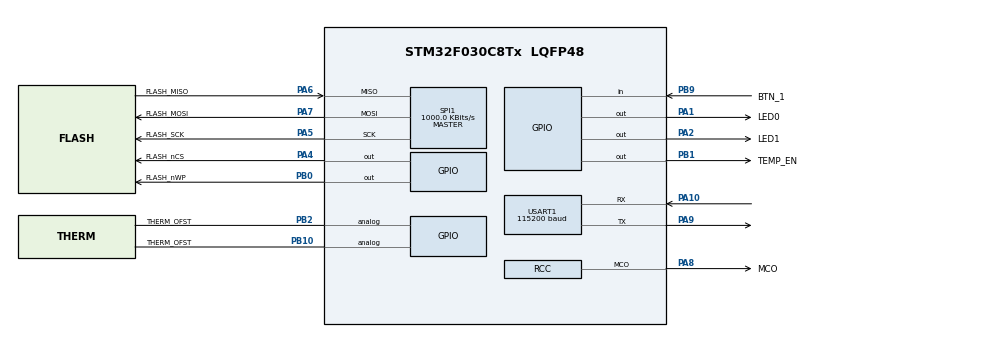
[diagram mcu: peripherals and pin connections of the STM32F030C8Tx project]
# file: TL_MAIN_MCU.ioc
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ADC.ClockPrescaler=ADC_CLOCK_SYNC_PCLK_DIV4
ADC.SamplingTime=ADC_SAMPLETIME_28CYCLES_5
Mcu.Family=STM32F0
Mcu.Name=STM32F030C8Tx
Mcu.Package=LQFP48
PA1.GPIO_Label=LED0
PA1.Signal=GPIO_Output
PA10.Mode=Asynchronous
PA10.Signal=USART1_RX
PA13.Mode=Serial_Wire
PA13.Signal=SYS_SWDIO
PA14.Mode=Serial_Wire
PA14.Signal=SYS_SWCLK
PA2.GPIO_Label=LED1
PA2.Signal=GPIO_Output
PA4.GPIO_Label=FLASH_nCS
PA4.Signal=GPIO_Output
PA5.GPIO_Label=FLASH_SCK
PA5.Mode=Full_Duplex_Master
PA5.Signal=SPI1_SCK
PA6.GPIO_Label=FLASH_MISO
PA6.Mode=Full_Duplex_Master
PA6.Signal=SPI1_MISO
PA7.GPIO_Label=FLASH_MOSI
PA7.Mode=Full_Duplex_Master
PA7.Signal=SPI1_MOSI
PA8.GPIO_Label=MCO
PA8.Mode=Clock-out
PA8.Signal=RCC_MCO
PA9.Mode=Asynchronous
PA9.Signal=USART1_TX
PB0.GPIO_Label=FLASH_nWP
PB0.Signal=GPIO_Output
PB1.GPIO_Label=TEMP_EN
PB1.Signal=GPIO_Output
PB10.GPIO_Label=THERM_OFST
PB10.Signal=GPIO_Analog
PB2.GPIO_Label=THERM_OFST
PB2.Signal=GPIO_Analog
PB9.GPIO_Label=BTN_1
PB9.Signal=GPIO_Input
PC14-OSC32_IN.Mode=LSE-External-Oscillator
PC14-OSC32_IN.Signal=RCC_OSC32_IN
PC15-OSC32_OUT.Mode=LSE-External-Oscillator
PC15-OSC32_OUT.Signal=RCC_OSC32_OUT
PF0-OSC_IN.Mode=HSE-External-Oscillator
PF0-OSC_IN.Signal=RCC_OSC_IN
PF1-OSC_OUT.Mode=HSE-External-Oscillator
PF1-OSC_OUT.Signal=RCC_OSC_OUT
ProjectManager.HeapSize=0x200
ProjectManager.StackSize=0x400
ProjectManager.TargetToolchain=Makefile
RCC.AHBFreq_Value=8000000
RCC.APB1Freq_Value=8000000
RCC.APB1TimFreq_Value=8000000
RCC.HCLKFreq_Value=8000000
RCC.PLLSourceVirtual=RCC_PLLSOURCE_HSE
SPI1.BaudRatePrescaler=SPI_BAUDRATEPRESCALER_8
SPI1.CalculateBaudRate=1000.0 KBits/s
SPI1.DataSize=SPI_DATASIZE_8BIT
SPI1.Direction=SPI_DIRECTION_2LINES
SPI1.Mode=SPI_MODE_MASTER
SPI1.VirtualType=VM_MASTER
USART1.BaudRate=115200
USART1.VirtualMode-Asynchronous=VM_ASYNC
VP_ADC_TempSens_Input.Mode=IN-TempSens
board=custom

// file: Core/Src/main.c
/* USER CODE BEGIN Header */
/**
  ******************************************************************************
  * @file           : main.c
  * @brief          : Main program body
  ******************************************************************************
  * @attention
  *
  * Copyright (c) 2024 STMicroelectronics.
  * All rights reserved.
  *
  * This software is licensed under terms that can be found in the LICENSE file
  * in the root directory of this software component.
  * If no LICENSE file comes with this software, it is provided AS-IS.
  *
  ******************************************************************************
  */
/* USER CODE END Header */
#include "main.h"
#include "adc.h"
#include "spi.h"
#include "usart.h"
#include "gpio.h"

/* USER CODE BEGIN Includes */
#include "cpu_temp.h"
/* USER CODE END Includes */

void SystemClock_Config(void);
/* USER CODE BEGIN PFP */
uint16_t adc_temp_read(void);

/* USER CODE END PFP */

int main(void)
{

  /* MCU Configuration--------------------------------------------------------*/

  /* Reset of all peripherals, Initializes the Flash interface and the Systick. */
  HAL_Init();

  /* Configure the system clock */
  SystemClock_Config();

  /* Initialize all configured peripherals */
  MX_GPIO_Init();
  MX_SPI1_Init();
  MX_USART1_UART_Init();
  MX_ADC_Init();
  /* USER CODE BEGIN 2 */
  int16_t val = 0;
  CPU_Temp_Init(&adc_temp_read);
  /* USER CODE END 2 */

  /* Infinite loop */
  while (1)
  {

    /* USER CODE BEGIN 3 */
    HAL_GPIO_TogglePin(LED0_GPIO_Port, LED0_Pin);
    HAL_GPIO_TogglePin(LED1_GPIO_Port, LED1_Pin);
    CPU_Temp_Read(&val);
    HAL_Delay(250);
  }
  /* USER CODE END 3 */
}

void SystemClock_Config(void)
{
  RCC_OscInitTypeDef RCC_OscInitStruct = {0};
  RCC_ClkInitTypeDef RCC_ClkInitStruct = {0};
  RCC_PeriphCLKInitTypeDef PeriphClkInit = {0};

  /** Initializes the RCC Oscillators according to the specified parameters
  * in the RCC_OscInitTypeDef structure.
  */
  RCC_OscInitStruct.OscillatorType = RCC_OSCILLATORTYPE_HSI;
  RCC_OscInitStruct.HSIState = RCC_HSI_ON;
  RCC_OscInitStruct.HSICalibrationValue = RCC_HSICALIBRATION_DEFAULT;
  RCC_OscInitStruct.PLL.PLLState = RCC_PLL_NONE;
  if (HAL_RCC_OscConfig(&RCC_OscInitStruct) != HAL_OK)
  {
    Error_Handler();
  }

  /** Initializes the CPU, AHB and APB buses clocks
  */
  RCC_ClkInitStruct.ClockType = RCC_CLOCKTYPE_HCLK|RCC_CLOCKTYPE_SYSCLK
                              |RCC_CLOCKTYPE_PCLK1;
  RCC_ClkInitStruct.SYSCLKSource = RCC_SYSCLKSOURCE_HSI;
  RCC_ClkInitStruct.AHBCLKDivider = RCC_SYSCLK_DIV1;
  RCC_ClkInitStruct.APB1CLKDivider = RCC_HCLK_DIV1;

  if (HAL_RCC_ClockConfig(&RCC_ClkInitStruct, FLASH_LATENCY_0) != HAL_OK)
  {
    Error_Handler();
  }
  PeriphClkInit.PeriphClockSelection = RCC_PERIPHCLK_USART1;
  PeriphClkInit.Usart1ClockSelection = RCC_USART1CLKSOURCE_PCLK1;
  if (HAL_RCCEx_PeriphCLKConfig(&PeriphClkInit) != HAL_OK)
  {
    Error_Handler();
  }
  HAL_RCC_MCOConfig(RCC_MCO, RCC_MCO1SOURCE_SYSCLK, RCC_MCODIV_1);
}

/* USER CODE BEGIN 4 */
uint16_t adc_temp_read(void)
{
  uint16_t rawVal = 0;

  //ADC1_COMMON->CCR |= (1 << 23 );
  HAL_ADC_Start(&hadc);
  HAL_ADC_PollForConversion(&hadc, 10);
  rawVal = HAL_ADC_GetValue(&hadc);
  HAL_ADC_Stop(&hadc);
  return rawVal;
}
/* USER CODE END 4 */

void Error_Handler(void)
{
  __disable_irq();
  while (1)
  {
  }
}
